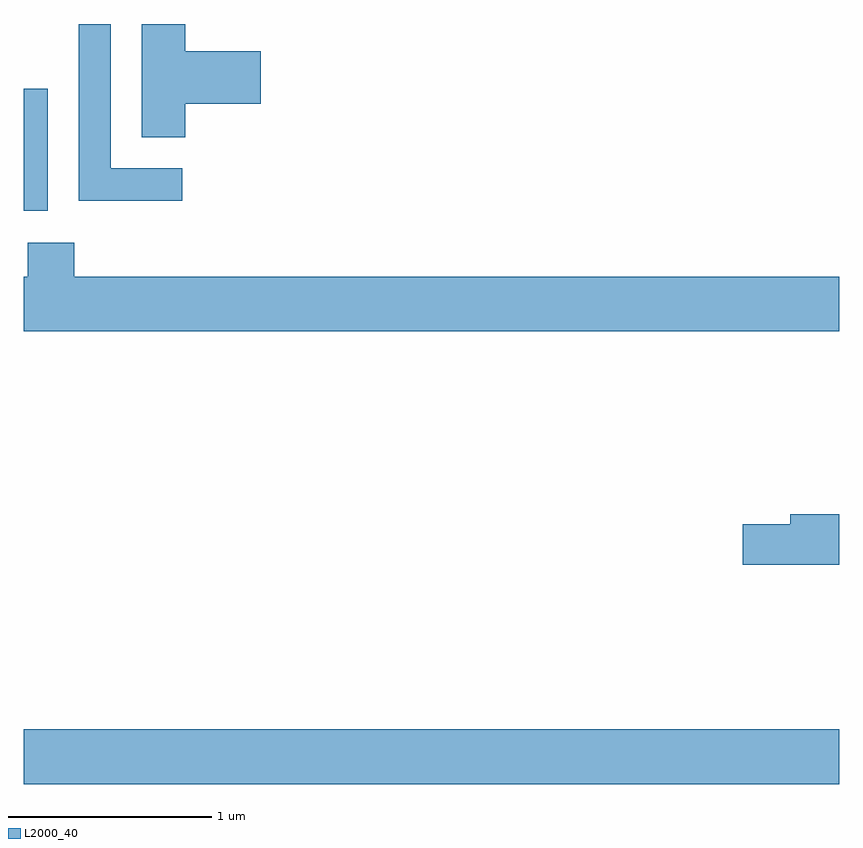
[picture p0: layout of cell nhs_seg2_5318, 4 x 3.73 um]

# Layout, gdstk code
import gdstk
lib = gdstk.Library(unit=1e-6, precision=1e-09)
def R(c, l, rs):  # rectangles x0, y0, x1, y1
    for r in rs: c.add(gdstk.rectangle(r[:2], r[2:], *l))
def P(c, l, *ps):  # polygons
    for p in ps: c.add(gdstk.Polygon(p, *l))
L2000_40 = (2000, 40)

nhs_seg2_5318 = lib.new_cell('nhs_seg2_5318')
R(nhs_seg2_5318, L2000_40, [(341.611,1066.076,345.611,1066.344), (341.611,1068.886,341.729,1069.484)])
P(nhs_seg2_5318, L2000_40, [(342.388,1069.094),(342.039,1069.094),(342.039,1069.802),(341.881,1069.802),(341.881,1068.936),(342.388,1068.936)],
  [(342.404,1069.411),(342.774,1069.411),(342.774,1069.669),(342.404,1069.669),(342.404,1069.802),(342.191,1069.802),(342.191,1069.246),(342.404,1069.246)],
  [(345.611,1068.564),(341.859,1068.564),(341.859,1068.729),(341.631,1068.729),(341.631,1068.564),(341.611,1068.564),(341.611,1068.296),(345.611,1068.296)],
  [(345.611,1067.399),(345.371,1067.399),(345.371,1067.349),(345.136,1067.349),(345.136,1067.151),(345.611,1067.151)])

lib.write_gds('nhs_seg2_5318.gds')
